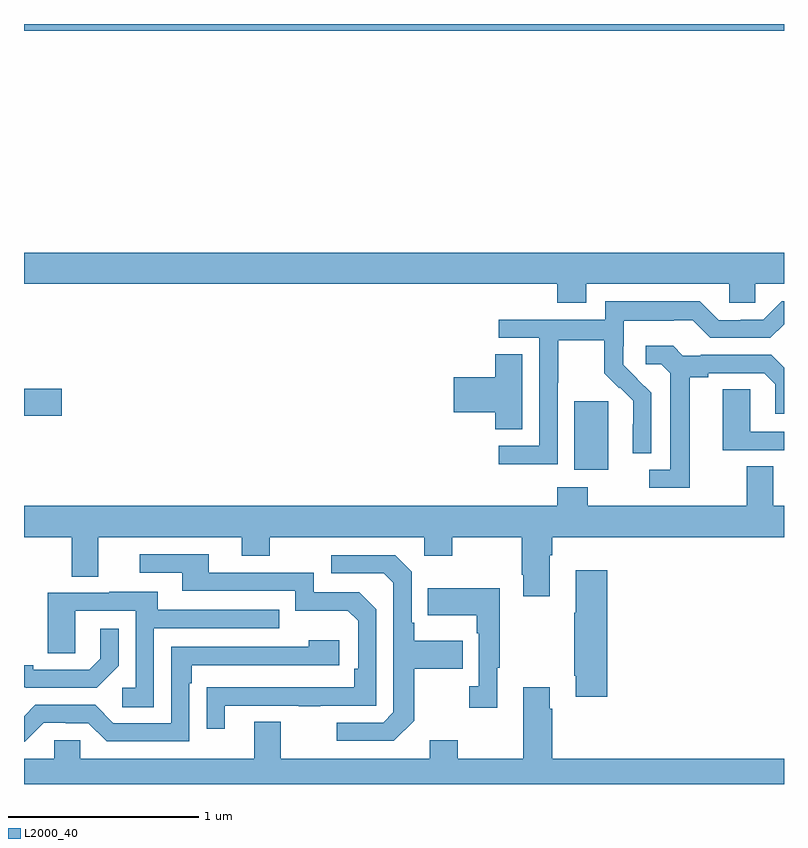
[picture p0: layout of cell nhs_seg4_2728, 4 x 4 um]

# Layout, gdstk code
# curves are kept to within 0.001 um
import gdstk
lib = gdstk.Library(unit=1e-6, precision=1e-09)
def R(c, l, rs):  # rectangles x0, y0, x1, y1
    for r in rs: c.add(gdstk.rectangle(r[:2], r[2:], *l))
def P(c, l, *ps):  # polygons
    for p in ps: c.add(gdstk.Polygon(p, *l))
L2000_40 = (2000, 40)

nhs_seg4_2728 = lib.new_cell('nhs_seg4_2728')
R(nhs_seg4_2728, L2000_40, [(257.897,750.554,258.076,750.915), (255,750.838,255.199,750.98), (255,752.864,259,752.9)])
P(nhs_seg4_2728, L2000_40, [(257.959,751.532),(258.711,751.532),(258.711,751.434),(258.849,751.434),(258.849,751.532),(259,751.532),(259,751.696),(255,751.696),(255,751.532),(257.807,751.532),(257.807,751.433),(257.959,751.433)],
  [(257.808,751.012),(257.811,751.012),(257.811,751.236),(258.055,751.236),(258.055,751.061),(258.132,750.984),(258.135,750.987),(258.206,750.917),(258.206,750.794),(258.204,750.794),(258.204,750.64),(258.3,750.64),(258.3,750.958),(258.154,751.106),(258.154,751.203),(258.156,751.203),(258.156,751.337),(258.419,751.337),(258.419,751.341),(258.519,751.341),(258.612,751.248),(258.927,751.248),(259,751.321),(259,751.44),(258.987,751.44),(258.891,751.344),(258.773,751.344),(258.773,751.341),(258.657,751.341),(258.557,751.441),(258.06,751.441),(258.06,751.344),(257.499,751.344),(257.499,751.248),(257.712,751.248),(257.712,750.681),(257.499,750.681),(257.499,750.583),(257.808,750.583)],
  [(258.505,751.04),(258.601,751.04),(258.601,751.062),(258.896,751.062),(258.953,751.005),(258.953,750.849),(259,750.849),(259,751.092),(258.934,751.158),(258.562,751.158),(258.562,751.155),(258.468,751.155),(258.416,751.207),(258.273,751.207),(258.273,751.11),(258.354,751.11),(258.401,751.063),(258.401,750.555),(258.291,750.555),(258.291,750.459),(258.505,750.459)],
  [(257.623,751.163),(257.48,751.163),(257.48,751.04),(257.262,751.04),(257.262,750.857),(257.48,750.857),(257.48,750.766),(257.623,750.766)],
  [(259,750.753),(258.822,750.753),(258.822,750.977),(258.677,750.977),(258.677,750.657),(259,750.657)],
  [(255,750.2),(255.251,750.2),(255.251,749.992),(255.391,749.992),(255.391,750.2),(256.145,750.2),(256.145,750.101),(256.293,750.101),(256.293,750.2),(257.106,750.2),(257.106,750.101),(257.253,750.101),(257.253,750.2),(257.62,750.2),(257.62,750.001),(257.627,750.001),(257.627,749.889),(257.767,749.889),(257.767,750.104),(257.779,750.104),(257.779,750.2),(259,750.2),(259,750.364),(258.943,750.364),(258.943,750.572),(258.803,750.572),(258.803,750.364),(257.967,750.364),(257.967,750.463),(257.807,750.463),(257.807,750.364),(255,750.364)],
  [(256.057,749.313),(256.447,749.313),(256.447,749.308),(256.559,749.308),(256.559,749.313),(256.854,749.313),(256.854,749.82),(256.764,749.91),(256.524,749.91),(256.524,750.012),(255.973,750.012),(255.973,750.108),(255.609,750.108),(255.609,750.012),(255.833,750.012),(255.833,749.916),(256.428,749.916),(256.428,749.813),(256.705,749.813),(256.758,749.76),(256.758,749.506),(256.738,749.506),(256.738,749.409),(255.961,749.408),(255.961,749.19),(256.057,749.19)],
  [(257.053,749.233),(257.053,749.506),(257.309,749.506),(257.309,749.653),(257.053,749.653),(257.053,749.749),(257.04,749.749),(257.04,750.018),(256.953,750.105),(256.617,750.105),(256.617,750.009),(256.893,750.009),(256.944,749.958),(256.944,749.277),(256.89,749.223),(256.647,749.223),(256.647,749.127),(256.947,749.127)],
  [(258.071,750.025),(257.903,750.025),(257.903,749.801),(257.896,749.801),(257.896,749.47),(257.903,749.47),(257.903,749.358),(258.071,749.358)],
  [(257.491,749.513),(257.503,749.513),(257.503,749.929),(257.125,749.929),(257.125,749.789),(257.382,749.789),(257.382,749.693),(257.394,749.693),(257.394,749.414),(257.343,749.414),(257.343,749.301),(257.491,749.301)],
  [(255.684,749.721),(256.343,749.721),(256.343,749.817),(255.703,749.817),(255.703,749.911),(255.449,749.911),(255.449,749.907),(255.125,749.907),(255.125,749.587),(255.27,749.587),(255.27,749.811),(255.588,749.811),(255.588,749.406),(255.516,749.406),(255.516,749.305),(255.684,749.305)],
  [(255.498,749.522),(255.498,749.716),(255.401,749.716),(255.401,749.559),(255.344,749.502),(255.049,749.502),(255.049,749.525),(255,749.525),(255,749.409),(255.01,749.409),(255.01,749.406),(255.382,749.406)],
  [(255.105,749.223),(255.221,749.223),(255.221,749.22),(255.339,749.22),(255.435,749.124),(255.87,749.124),(255.87,749.429),(255.883,749.429),(255.883,749.526),(256.66,749.526),(256.66,749.656),(256.499,749.656),(256.499,749.622),(255.774,749.622),(255.774,749.22),(255.471,749.22),(255.375,749.316),(255.06,749.316),(255,749.256),(255,749.123),(255.005,749.123)],
  [(259,749.032),(257.779,749.032),(257.779,749.297),(257.767,749.297),(257.767,749.41),(257.627,749.41),(257.627,749.032),(257.283,749.032),(257.283,749.131),(257.135,749.131),(257.135,749.032),(256.351,749.032),(256.351,749.227),(256.211,749.227),(256.211,749.032),(255.297,749.032),(255.297,749.13),(255.159,749.13),(255.159,749.032),(255,749.032),(255,748.9),(259,748.9)])

lib.write_gds('nhs_seg4_2728.gds')
